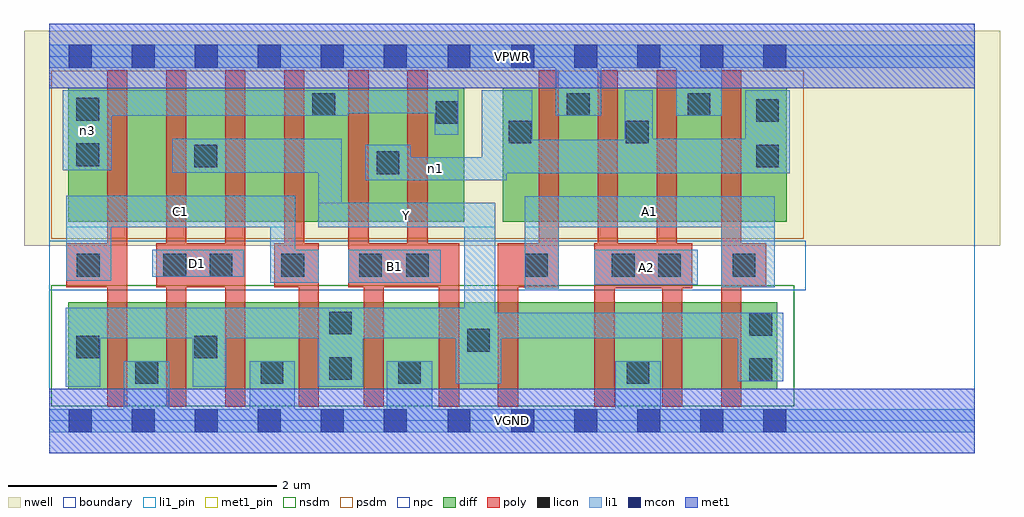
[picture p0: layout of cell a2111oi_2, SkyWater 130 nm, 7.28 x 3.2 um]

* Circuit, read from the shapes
.subckt a2111oi_2 A1 A2 B1 C1 D1 VGND VPWR Y n1 n3
XM1 VGND C1 Y VSUBS sky130_fd_pr__nfet_01v8 w=0.65 l=0.15 m=2
XM2 Y D1 VGND VSUBS sky130_fd_pr__nfet_01v8 w=0.65 l=0.15 m=2
XM3 VGND B1 Y VSUBS sky130_fd_pr__nfet_01v8 w=0.65 l=0.15 m=2
XM4 n2 A1 Y VSUBS sky130_fd_pr__nfet_01v8 w=0.65 l=0.15
XM5 VGND A2 n2 VSUBS sky130_fd_pr__nfet_01v8 w=0.65 l=0.15
XM6 n4 A2 VGND VSUBS sky130_fd_pr__nfet_01v8 w=0.65 l=0.15
XM7 Y A1 n4 VSUBS sky130_fd_pr__nfet_01v8 w=0.65 l=0.15
XM8 n5 C1 n3 n6 sky130_fd_pr__pfet_01v8 w=1 l=0.15
XM9 Y D1 n5 n6 sky130_fd_pr__pfet_01v8 w=1 l=0.15
XM10 n7 D1 Y n6 sky130_fd_pr__pfet_01v8 w=1 l=0.15
XM11 n3 C1 n7 n6 sky130_fd_pr__pfet_01v8 w=1 l=0.15
XM12 n1 B1 n3 n6 sky130_fd_pr__pfet_01v8 w=1 l=0.15 m=2
XM13 VPWR A1 n1 n6 sky130_fd_pr__pfet_01v8 w=1 l=0.15 m=2
XM14 n1 A2 VPWR n6 sky130_fd_pr__pfet_01v8 w=1 l=0.15 m=2
.ends

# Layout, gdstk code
import gdstk
lib = gdstk.Library(unit=1e-6, precision=1e-09)
def R(c, l, rs):  # rectangles x0, y0, x1, y1
    for r in rs: c.add(gdstk.rectangle(r[:2], r[2:], *l))
def A(c, l, x, y, w, h, nx, ny, dx, dy):  # array of equal rectangles
    R(c, l, [(x+i*dx, y+j*dy, x+i*dx+w, y+j*dy+h) for i in range(nx) for j in range(ny)])
nwell = (64, 20)
diff = (65, 20)
poly = (66, 20)
licon = (66, 44)
li1_pin = (67, 16)
li1 = (67, 20)
mcon = (67, 44)
met1_pin = (68, 16)
met1 = (68, 20)
nsdm = (93, 44)
psdm = (94, 20)
npc = (95, 20)
boundary = (235, 4)

a2111oi_2 = lib.new_cell('a2111oi_2')
R(a2111oi_2, nwell, [(-0.19,1.305,7.09,2.91), (0,1.305,6.9,2.91)])
R(a2111oi_2, diff, [(0.14,0.235,5.43,0.885), (0.14,1.485,3.095,2.485), (3.38,1.485,5.5,2.485)])
A(a2111oi_2, poly, 0.43, 0.105, 0.15, 2.51, 3, 1, 0.44, 0)
R(a2111oi_2, poly, [(1.86,0.105,2.01,1.325), (2.345,0.105,2.495,1.325), (2.905,0.105,3.055,1.325), (3.345,0.105,3.495,1.325), (4.065,0.105,4.215,1.325), (4.57,0.105,4.72,1.325), (5.01,0.105,5.16,2.615), (4.065,0.99,4.795,1.325), (4.09,0.99,4.24,2.615), (4.53,0.99,4.68,2.615), (0.125,0.995,0.58,1.325), (0.795,0.995,1.46,1.325), (1.675,0.995,2.01,1.325), (1.75,0.995,1.9,2.615), (2.23,0.995,2.38,2.615), (2.23,0.995,3.055,1.325), (2.67,0.995,2.82,2.615), (3.345,0.995,3.8,1.325), (3.65,0.995,3.8,2.615), (5.01,0.995,5.345,1.325)])
R(a2111oi_2, licon, [(0.64,0.275,0.81,0.445), (1.575,0.275,1.745,0.445), (2.6,0.275,2.77,0.445), (4.305,0.275,4.475,0.445), (5.22,0.295,5.39,0.465), (2.085,0.305,2.255,0.475), (0.2,0.465,0.37,0.635), (1.08,0.465,1.25,0.635), (3.115,0.515,3.285,0.685), (5.22,0.635,5.39,0.805), (2.085,0.645,2.255,0.815), (0.205,1.075,0.375,1.245), (0.85,1.075,1.02,1.245), (1.195,1.075,1.365,1.245), (1.73,1.075,1.9,1.245), (2.31,1.075,2.48,1.245), (2.66,1.075,2.83,1.245), (3.545,1.075,3.715,1.245), (4.195,1.075,4.365,1.245), (4.54,1.075,4.71,1.245), (5.095,1.075,5.265,1.245), (2.44,1.84,2.61,2.01), (1.08,1.89,1.25,2.06), (5.27,1.89,5.44,2.06), (0.2,1.9,0.37,2.07), (3.425,2.07,3.595,2.24), (4.3,2.07,4.47,2.24), (2.88,2.215,3.05,2.385), (5.27,2.23,5.44,2.4), (0.2,2.24,0.37,2.41), (1.96,2.275,2.13,2.445), (3.86,2.275,4.03,2.445), (4.76,2.275,4.93,2.445)])
R(a2111oi_2, li1_pin, [(4.065,1.015,4.835,1.275), (2.23,1.03,2.92,1.275), (0.765,1.075,1.45,1.275), (0.125,1.445,1.835,1.68), (2.005,1.445,3.325,1.625), (3.545,1.445,5.41,1.675)])
R(a2111oi_2, li1, [(0,-0.085,6.9,0.085), (0.555,-0.085,0.895,0.445), (1.495,-0.085,1.83,0.445), (2.515,-0.085,2.855,0.445), (4.22,-0.085,4.56,0.445), (0.12,0.255,0.38,0.845), (1.07,0.255,1.32,0.845), (2,0.255,2.34,0.845), (3.03,0.275,3.37,0.805), (3.095,0.275,3.325,1.625), (5.135,0.295,5.475,0.805), (0.12,0.615,5.475,0.805), (0.12,0.615,3.325,0.845), (3.545,0.985,3.8,1.675), (5.01,0.995,5.41,1.675), (4.065,1.015,4.835,1.275), (1.645,1.03,2.01,1.275), (1.645,1.03,1.835,1.68), (2.23,1.03,2.92,1.275), (0.125,1.045,0.46,1.68), (0.765,1.075,1.45,1.275), (0.125,1.445,1.835,1.68), (2.005,1.445,3.325,1.625), (2.005,1.445,2.18,2.105), (3.545,1.445,5.41,1.675), (2.355,1.795,3.41,1.965), (2.355,1.795,2.695,2.06), (3.225,1.845,5.52,2.095), (3.225,1.845,3.6,2.465), (4.29,1.845,4.5,2.465), (4.29,1.845,5.52,2.105), (5.19,1.845,5.52,2.465), (0.915,1.85,2.18,2.105), (0.1,1.87,0.465,2.465), (2.875,2.135,3.05,2.465), (0.1,2.275,2.23,2.465), (3.775,2.275,4.115,2.805), (4.675,2.275,5.015,2.805), (0.1,2.295,3.05,2.465), (0,2.635,6.9,2.805)])
A(a2111oi_2, mcon, 0.145, -0.085, 0.17, 0.17, 6, 2, 0.47, 2.72)
A(a2111oi_2, mcon, 3.445, -0.085, 0.17, 0.17, 5, 2, 0.47, 2.72)
R(a2111oi_2, mcon, [(2.97,-0.085,3.14,0.085), (2.97,2.635,3.14,2.805)])
R(a2111oi_2, met1_pin, [(0,-0.24,6.9,0.24), (0,2.48,6.9,2.96)])
R(a2111oi_2, met1, [(0,-0.24,6.9,0.24), (0,2.48,6.9,2.96)])
R(a2111oi_2, nsdm, [(0.015,0.11,5.555,1.01)])
R(a2111oi_2, psdm, [(0.015,1.36,5.625,2.61)])
R(a2111oi_2, npc, [(0,0.975,5.64,1.345)])
R(a2111oi_2, boundary, [(0,0,6.9,2.72)])
a2111oi_2.add(gdstk.Label('A1', (4.477,1.56), layer=67, texttype=5))
a2111oi_2.add(gdstk.Label('A2', (4.45,1.145), layer=67, texttype=5))
a2111oi_2.add(gdstk.Label('B1', (2.575,1.152), layer=67, texttype=5))
a2111oi_2.add(gdstk.Label('C1', (0.98,1.562), layer=67, texttype=5))
a2111oi_2.add(gdstk.Label('D1', (1.107,1.175), layer=67, texttype=5))
a2111oi_2.add(gdstk.Label('Y', (2.665,1.535), layer=67, texttype=5))
a2111oi_2.add(gdstk.Label('n3', (0.282,2.167), layer=67, texttype=5))
a2111oi_2.add(gdstk.Label('n1', (2.882,1.88), layer=67, texttype=5))
a2111oi_2.add(gdstk.Label('VPWR', (3.45,2.72), layer=68, texttype=5))
a2111oi_2.add(gdstk.Label('VGND', (3.45,0), layer=68, texttype=5))
a2111oi_2.add(gdstk.Label('A1', (4.477,1.56), layer=67, texttype=16))
a2111oi_2.add(gdstk.Label('A2', (4.45,1.145), layer=67, texttype=16))
a2111oi_2.add(gdstk.Label('B1', (2.575,1.152), layer=67, texttype=16))
a2111oi_2.add(gdstk.Label('C1', (0.98,1.562), layer=67, texttype=16))
a2111oi_2.add(gdstk.Label('D1', (1.107,1.175), layer=67, texttype=16))
a2111oi_2.add(gdstk.Label('Y', (2.665,1.535), layer=67, texttype=16))
a2111oi_2.add(gdstk.Label('VPWR', (3.45,2.72), layer=68, texttype=16))
a2111oi_2.add(gdstk.Label('VGND', (3.45,0), layer=68, texttype=16))

lib.write_gds('a2111oi_2.gds')
